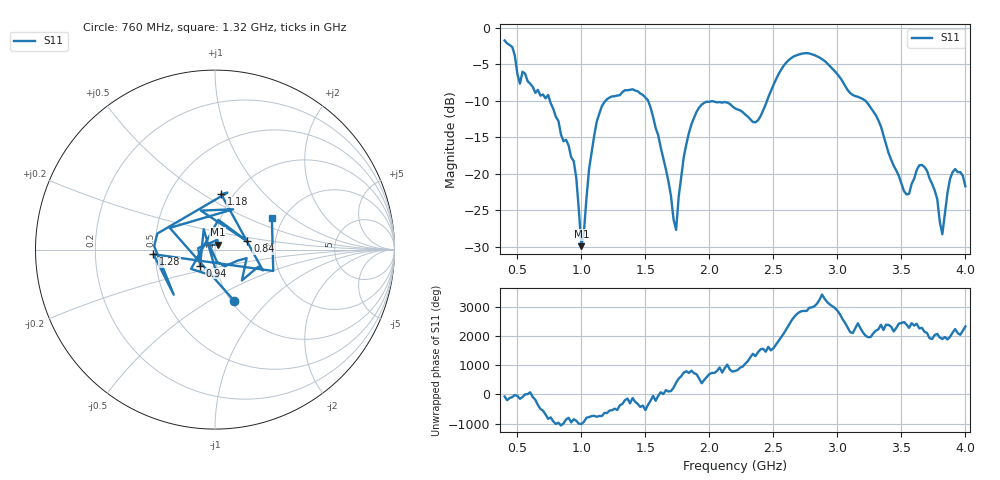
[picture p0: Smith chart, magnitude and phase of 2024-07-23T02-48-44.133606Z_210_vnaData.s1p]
!Created with skrf (http://scikit-rf.org).
# Hz S RI R 50.0
!freq ReS11 ImS11
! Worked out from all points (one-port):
!   181 points, 400 MHz to 4 GHz, reference 50 ohm
!   lowest |S11| = -29.9 dB at 1 GHz (marker M1), VSWR 1.07, Z = 51.4 + j2.9 ohm
!   |S11| at or under -10 dB: 754.3 MHz to 1.188 GHz (433.9 MHz wide, 44.7 % of centre); 1.521 GHz to 2.45 GHz (928.4 MHz wide, 46.8 % of centre); 3.22 GHz to end of sweep
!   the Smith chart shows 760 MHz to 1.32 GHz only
!   S11 on the Smith chart (normalised r, x): 760 MHz: 1.03, -0.65; 840 MHz: 1.43, +0.14; 940 MHz: 0.83, -0.15; 1.18 GHz: 0.88, +0.60; 1.28 GHz: 0.49, -0.03; 1.32 GHz: 1.74, +0.71
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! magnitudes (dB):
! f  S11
! 400 MHz  -1.7
! 520 MHz  -7.6
! 760 MHz  -10.3
! 840 MHz  -14.6
! 860 MHz  -15.5
! 940 MHz  -18.3
! 1 GHz  -29.9
! 1.1 GHz  -14.8
! 1.18 GHz  -10.2
! 1.28 GHz  -9.3
! 1.3 GHz  -9.2
! 1.32 GHz  -8.8
! 1.52 GHz  -9.9
! 1.74 GHz  -27.7
! 1.76 GHz  -23.2
! 1.82 GHz  -15.9
! 1.92 GHz  -10.9
! 2.2 GHz  -11.0
! 2.38 GHz  -12.7
! 2.66 GHz  -3.9
! 3.1 GHz  -8.9
! 3.3 GHz  -12.0
! 3.56 GHz  -22.8
! 3.68 GHz  -19.1
! 3.78 GHz  -23.5
! 3.82 GHz  -28.3
! 3.9 GHz  -19.8
! 4 GHz  -21.7
